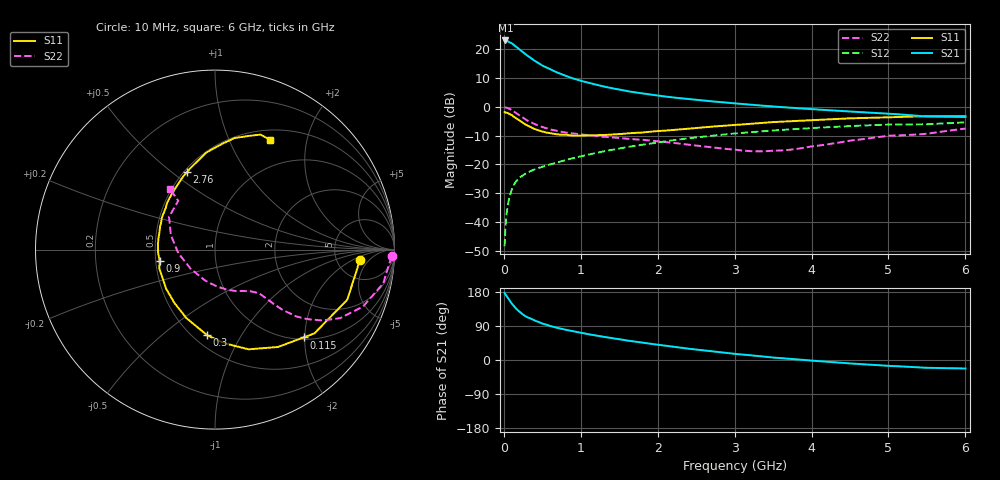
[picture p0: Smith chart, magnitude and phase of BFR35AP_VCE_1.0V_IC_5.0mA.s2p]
! Infineon Technologies  Discrete & RF Semiconductors
! BFR35AP
! VCE =  1.0 V,  IC =  5.0 mA
! Common Emitter S-Parameters:  Nov 2015
# GHz  S  MA  R  50
!  f  S11  S21  S12  S22
! GHz  MAG  ANG  MAG  ANG  MAG  ANG  MAG  ANG
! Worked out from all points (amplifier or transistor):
!   210 points, 10 MHz to 6 GHz, reference 50 ohm
!   highest |S21| = 23.0 dB at 20 MHz (marker M1)
!   |S21| within 3 dB of that: start of sweep to 199 MHz
!   unconditionally stable (mu >= 1): 705.5 MHz to end of sweep
!   at 185 MHz: K = 0.39, MSG = 22.7 dB, |S12| = -25.1 dB
!   at 1.52 GHz: K = 1.17, MAG = 7.6 dB, |S12| = -14.4 dB
!   at 6 GHz: K = 1.03, MAG = -0.2 dB, |S12| = -5.4 dB
!   S11 on the Smith chart (normalised r, x): 10 MHz: 8.36, -2.91; 115 MHz: 1.04, -1.97; 300 MHz: 0.59, -0.72; 900 MHz: 0.52, -0.07; 2.76 GHz: 0.52, +0.56; 6 GHz: 0.62, +1.43
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0.01  0.8074 -4.3  14.19 177.0  0.0038 87.6  0.9852 -2.2
0.02  0.7973 -8.7  14.2 173.4  0.0077 84.7  0.9741 -4.6
0.05  0.7878 -20.8  13.77 164.1  0.0192 79.5  0.9564 -11.3
0.1  0.7246 -40.1  12.77 149.8  0.0357 70.2  0.8842 -21.0
0.115  0.695 -44.8  12.28 146.3  0.0396 67.4  0.8559 -23.1
0.15  0.6463 -57.1  11.34 137.2  0.0488 62.7  0.7951 -28.7
0.2  0.5862 -71.4  10.03 127.8  0.0585 58.3  0.7153 -33.5
0.26  0.5136 -86.4  8.642 118.4  0.0664 54.3  0.6312 -37.5
0.3  0.4792 -95.2  7.833 113.2  0.0713 53.1  0.5835 -39.5
0.4  0.4133 -112.8  6.307 104.2  0.082 51.3  0.5018 -41.8
0.5  0.3729 -127.5  5.212 96.2  0.091 50.9  0.4455 -42.8
0.6  0.349 -141.2  4.476 89.9  0.0998 51.7  0.4058 -43.4
0.7  0.3315 -151.8  3.912 84.5  0.1088 52.1  0.3787 -43.9
0.9  0.315 -168.5  3.107 75.7  0.1286 52.5  0.3439 -45.1
1.02  0.3173 -178.6  2.787 71.1  0.1399 52.7  0.3299 -46.4
1.4  0.3312 157.7  2.107 57.9  0.1786 52.1  0.2949 -52.0
2.02  0.3803 132.4  1.556 39.9  0.2437 47.7  0.2499 -66.1
2.76  0.4588 110.2  1.226 21.7  0.3204 39.8  0.194 -94.6
3.1  0.4939 102.7  1.119 14.5  0.3526 35.2  0.1741 -114.5
4.1  0.5944 85.5  0.893 -3.1  0.4351 22.2  0.2127 179.9
5.1  0.6627 73.1  0.745 -16.3  0.492 8.6  0.317 140.9
6  0.6842 63.4  0.665 -22.4  0.5363 -0.9  0.4187 126.7
